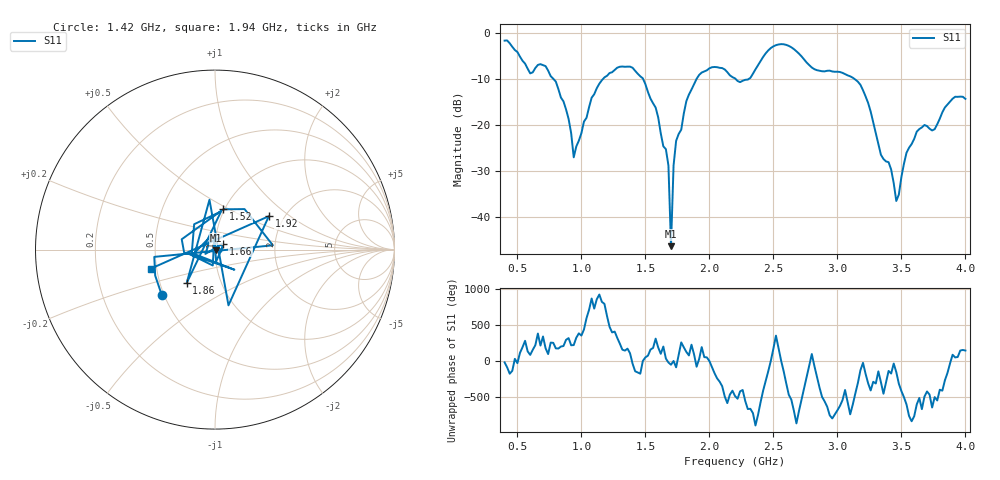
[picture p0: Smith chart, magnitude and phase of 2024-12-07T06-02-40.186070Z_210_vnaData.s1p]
!Created with skrf (http://scikit-rf.org).
# Hz S RI R 50.0
!freq ReS11 ImS11
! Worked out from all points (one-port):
!   181 points, 400 MHz to 4 GHz, reference 50 ohm
!   lowest |S11| = -46.3 dB at 1.7 GHz (marker M1), VSWR 1.01, Z = 50.3 - j0.363 ohm
!   |S11| at or under -10 dB: 783.7 MHz to 1.167 GHz (383.1 MHz wide, 39.3 % of centre); 1.483 GHz to 1.899 GHz (415.4 MHz wide, 24.6 % of centre); 3.136 GHz to end of sweep (the widest 3 of 4)
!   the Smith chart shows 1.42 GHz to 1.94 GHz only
!   S11 on the Smith chart (normalised r, x): 1.42 GHz: 0.49, -0.29; 1.52 GHz: 0.99, +0.47; 1.66 GHz: 1.09, +0.07; 1.86 GHz: 0.68, -0.27; 1.92 GHz: 1.67, +0.71; 1.94 GHz: 0.46, -0.11
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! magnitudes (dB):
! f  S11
! 400 MHz  -1.6
! 600 MHz  -8.7
! 720 MHz  -7.1
! 860 MHz  -14.8
! 940 MHz  -27.0
! 1.08 GHz  -14.0
! 1.3 GHz  -7.3
! 1.42 GHz  -8.2
! 1.52 GHz  -12.8
! 1.66 GHz  -25.2
! 1.68 GHz  -28.8
! 1.7 GHz  -46.3
! 1.72 GHz  -28.8
! 1.76 GHz  -21.9
! 1.86 GHz  -12.3
! 1.92 GHz  -9.0
! 1.94 GHz  -8.5
! 2.2 GHz  -9.8
! 2.32 GHz  -9.7
! 2.5 GHz  -2.8
! 2.66 GHz  -3.4
! 3.1 GHz  -9.4
! 3.24 GHz  -15.1
! 3.34 GHz  -26.4
! 3.42 GHz  -29.7
! 3.46 GHz  -36.5
! 3.56 GHz  -24.9
! 4 GHz  -14.3
